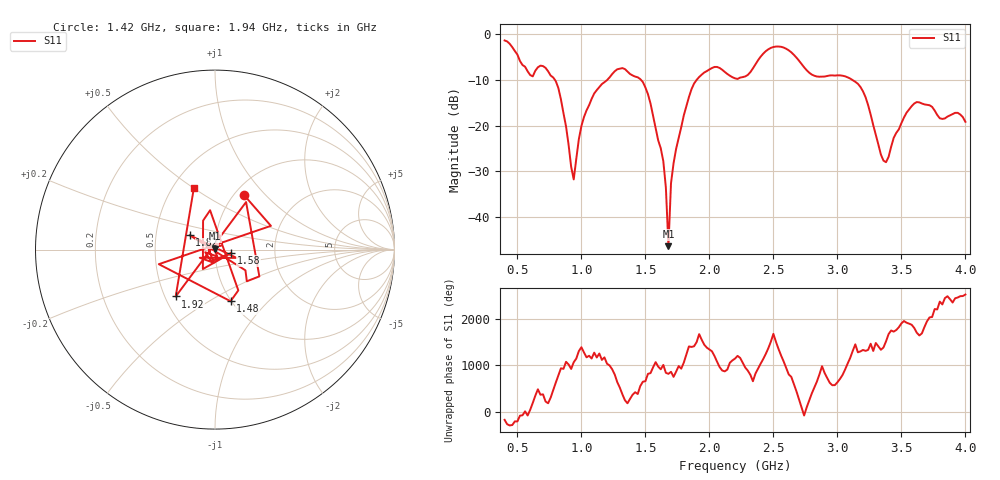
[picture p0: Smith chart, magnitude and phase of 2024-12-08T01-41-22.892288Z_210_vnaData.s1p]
!Created with skrf (http://scikit-rf.org).
# Hz S RI R 50.0
!freq ReS11 ImS11
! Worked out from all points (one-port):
!   181 points, 400 MHz to 4 GHz, reference 50 ohm
!   lowest |S11| = -46.4 dB at 1.68 GHz (marker M1), VSWR 1.01, Z = 49.9 + j0.473 ohm
!   |S11| at or under -10 dB: 793.4 MHz to 1.201 GHz (407.9 MHz wide, 40.9 % of centre); 1.466 GHz to 1.9 GHz (433.7 MHz wide, 25.8 % of centre); 3.117 GHz to end of sweep
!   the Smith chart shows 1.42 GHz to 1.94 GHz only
!   S11 on the Smith chart (normalised r, x): 1.42 GHz: 1.11, +0.76; 1.48 GHz: 0.99, -0.63; 1.58 GHz: 1.20, -0.05; 1.82 GHz: 0.74, +0.12; 1.92 GHz: 0.57, -0.34; 1.94 GHz: 0.64, +0.50
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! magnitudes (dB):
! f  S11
! 400 MHz  -1.3
! 600 MHz  -8.9
! 720 MHz  -7.3
! 800 MHz  -10.3
! 860 MHz  -17.3
! 940 MHz  -31.8
! 980 MHz  -23.0
! 1.04 GHz  -16.7
! 1.3 GHz  -7.5
! 1.42 GHz  -9.3
! 1.48 GHz  -10.4
! 1.58 GHz  -20.7
! 1.64 GHz  -27.8
! 1.66 GHz  -33.6
! 1.68 GHz  -46.4
! 1.7 GHz  -32.6
! 1.76 GHz  -22.7
! 1.82 GHz  -15.8
! 1.92 GHz  -9.3
! 1.94 GHz  -8.8
! 2.2 GHz  -9.6
! 2.48 GHz  -3.0
! 2.66 GHz  -4.5
! 3.1 GHz  -9.7
! 3.22 GHz  -13.8
! 3.38 GHz  -28.0
! 3.56 GHz  -16.4
! 4 GHz  -19.2
